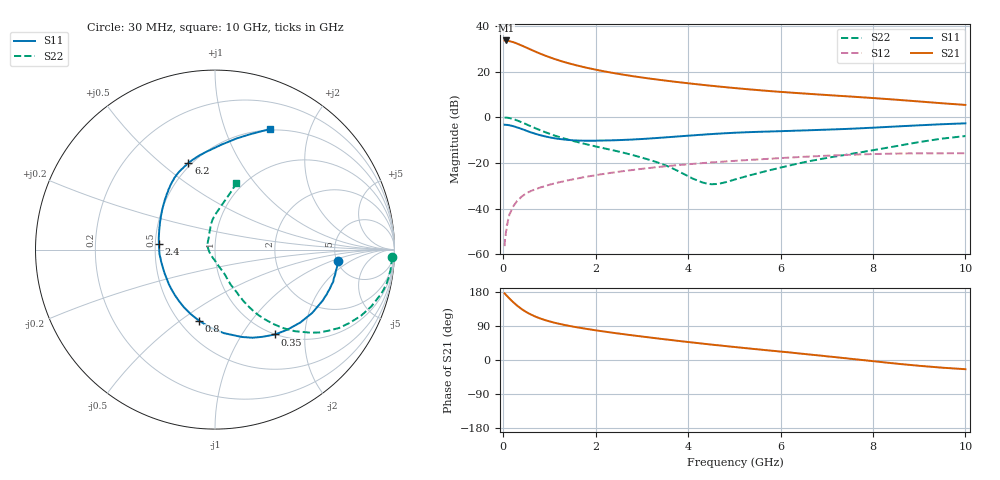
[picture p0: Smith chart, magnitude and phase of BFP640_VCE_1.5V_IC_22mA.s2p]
! Infineon Technologies  Discrete & RF Semiconductors
! BFP640
! VCE =  1.5 V,  IC =  22 mA
! Common Emitter S-Parameters:  Apr 2013
# GHz  S  MA  R  50
!  f  S11  S21  S12  S22
! GHz  MAG  ANG  MAG  ANG  MAG  ANG  MAG  ANG
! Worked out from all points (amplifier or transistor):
!   99 points, 30 MHz to 10 GHz, reference 50 ohm
!   highest |S21| = 33.7 dB at 60 MHz (marker M1)
!   |S21| within 3 dB of that: start of sweep to 486 MHz
!   unconditionally stable (mu >= 1): 2.606 GHz to end of sweep
!   at 350 MHz: K = 0.29, MSG = 33.8 dB, |S12| = -35.8 dB
!   at 3.5 GHz: K = 1.04, MAG = 17.6 dB, |S12| = -21.5 dB
!   at 10 GHz: K = 1.07, MAG = 9.0 dB, |S12| = -15.7 dB
!   S11 on the Smith chart (normalised r, x): 30 MHz: 5.15, -1.21; 350 MHz: 1.00, -1.42; 800 MHz: 0.62, -0.59; 2.4 GHz: 0.52, +0.04; 6.2 GHz: 0.48, +0.62; 10 GHz: 0.49, +1.44
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0.03  0.6897 -5.1  48.16 175.8  0.0015 66.8  0.9858 -2.4
0.06  0.6834 -10.3  48.41 171.7  0.0032 74.4  0.9845 -5.7
0.12  0.6717 -20.5  47.22 164.0  0.006 84.6  0.97 -12.1
0.2  0.6463 -33.1  44.91 154.4  0.0105 76.3  0.9266 -20.0
0.3  0.6012 -47.9  41.41 143.6  0.0147 71.2  0.8547 -28.5
0.35  0.5798 -54.6  39.34 138.8  0.0163 69.4  0.8174 -32.3
0.4  0.5539 -61.3  37.54 134.3  0.0183 67.3  0.7777 -35.5
0.45  0.5333 -67.0  35.56 130.3  0.0199 65.6  0.7417 -38.5
0.6  0.4678 -84.0  30.42 119.9  0.0243 61.9  0.6349 -45.7
0.7  0.4345 -93.6  27.44 114.4  0.0266 60.1  0.5751 -49.3
0.8  0.4062 -102.6  24.87 109.6  0.0289 58.6  0.5226 -52.1
1  0.3646 -118.4  20.8 101.9  0.0333 56.9  0.4374 -56.5
1.2  0.3374 -131.8  17.75 95.8  0.0375 55.8  0.3742 -59.2
1.4  0.3209 -143.5  15.45 90.7  0.0416 55.0  0.3262 -61.1
1.7  0.3082 -158.7  12.92 84.2  0.0478 53.4  0.2715 -62.8
2.4  0.3144 174.3  9.304 71.4  0.062 49.6  0.1874 -67.0
3.4  0.3569 147.1  6.595 56.0  0.0823 42.1  0.0974 -76.8
5.1  0.4635 118.3  4.3 33.1  0.1128 27.9  0.046 152.6
6.2  0.5036 107.1  3.496 19.9  0.1312 18.8  0.0882 111.6
6.7  0.5246 101.4  3.23 13.6  0.1395 14.1  0.1133 104.3
8.5  0.6302 79.1  2.435 -9.5  0.1606 -4.0  0.2334 83.5
10  0.7384 65.4  1.871 -24.3  0.1634 -15.8  0.3886 72.3
